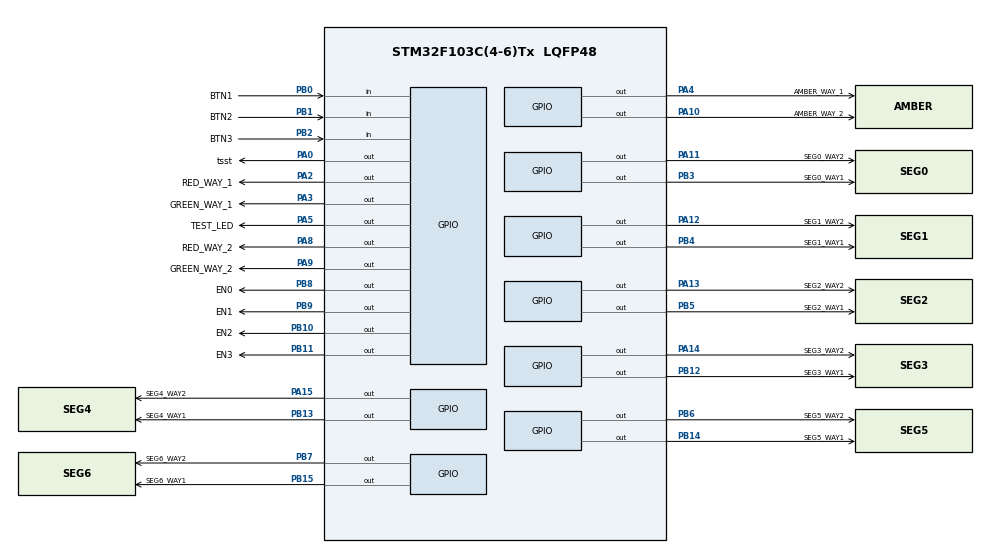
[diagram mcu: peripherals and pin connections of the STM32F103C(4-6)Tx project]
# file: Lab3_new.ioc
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Mcu.Family=STM32F1
Mcu.Name=STM32F103C(4-6)Tx
Mcu.Package=LQFP48
NVIC.PriorityGroup=NVIC_PRIORITYGROUP_4
NVIC.TIM2_IRQn=true\:0\:0\:false\:false\:true\:true\:true
PA0-WKUP.GPIO_Label=tsst
PA0-WKUP.Signal=GPIO_Output
PA10.GPIO_Label=AMBER_WAY_2
PA10.Signal=GPIO_Output
PA11.GPIO_Label=SEG0_WAY2
PA11.Signal=GPIO_Output
PA12.GPIO_Label=SEG1_WAY2
PA12.Signal=GPIO_Output
PA13.GPIO_Label=SEG2_WAY2
PA13.Signal=GPIO_Output
PA14.GPIO_Label=SEG3_WAY2
PA14.Signal=GPIO_Output
PA15.GPIO_Label=SEG4_WAY2
PA15.Signal=GPIO_Output
PA2.GPIO_Label=RED_WAY_1
PA2.Signal=GPIO_Output
PA3.GPIO_Label=GREEN_WAY_1
PA3.Signal=GPIO_Output
PA4.GPIO_Label=AMBER_WAY_1
PA4.Signal=GPIO_Output
PA5.GPIO_Label=TEST_LED
PA5.Signal=GPIO_Output
PA8.GPIO_Label=RED_WAY_2
PA8.Signal=GPIO_Output
PA9.GPIO_Label=GREEN_WAY_2
PA9.Signal=GPIO_Output
PB0.GPIO_Label=BTN1
PB0.GPIO_PuPd=GPIO_PULLUP
PB0.Signal=GPIO_Input
PB1.GPIO_Label=BTN2
PB1.GPIO_PuPd=GPIO_PULLUP
PB1.Signal=GPIO_Input
PB10.GPIO_Label=EN2
PB10.Signal=GPIO_Output
PB11.GPIO_Label=EN3
PB11.Signal=GPIO_Output
PB12.GPIO_Label=SEG3_WAY1
PB12.Signal=GPIO_Output
PB13.GPIO_Label=SEG4_WAY1
PB13.Signal=GPIO_Output
PB14.GPIO_Label=SEG5_WAY1
PB14.Signal=GPIO_Output
PB15.GPIO_Label=SEG6_WAY1
PB15.Signal=GPIO_Output
PB2.GPIO_Label=BTN3
PB2.GPIO_PuPd=GPIO_PULLUP
PB2.Signal=GPIO_Input
PB3.GPIO_Label=SEG0_WAY1
PB3.Signal=GPIO_Output
PB4.GPIO_Label=SEG1_WAY1
PB4.Signal=GPIO_Output
PB5.GPIO_Label=SEG2_WAY1
PB5.Signal=GPIO_Output
PB6.GPIO_Label=SEG5_WAY2
PB6.Signal=GPIO_Output
PB7.GPIO_Label=SEG6_WAY2
PB7.Signal=GPIO_Output
PB8.GPIO_Label=EN0
PB8.Signal=GPIO_Output
PB9.GPIO_Label=EN1
PB9.Signal=GPIO_Output
ProjectManager.HeapSize=0x200
ProjectManager.StackSize=0x400
ProjectManager.TargetToolchain=STM32CubeIDE
RCC.APB1Freq_Value=8000000
RCC.APB2Freq_Value=8000000
TIM2.Period=10 - 1
TIM2.Prescaler=8000 - 1
VP_SYS_VS_ND.Mode=No_Debug
VP_TIM2_VS_ClockSourceINT.Mode=Internal
board=custom

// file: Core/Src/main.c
/* USER CODE BEGIN Header */
/**
  ******************************************************************************
  * @file           : main.c
  * @brief          : Main program body
  ******************************************************************************
  * @attention
  *
  * <h2><center>&copy; Copyright (c) 2025 STMicroelectronics.
  * All rights reserved.</center></h2>
  *
  * This software component is licensed by ST under BSD 3-Clause license,
  * the "License"; You may not use this file except in compliance with the
  * License. You may obtain a copy of the License at:
  *                        opensource.org/licenses/BSD-3-Clause
  *
  ******************************************************************************
  */
/* USER CODE END Header */
#include "main.h"

/* USER CODE BEGIN Includes */
#include "global.h"
#include "led_7seg.h"
#include "software_timer.h"
#include "fsm_auto.h"
#include "fsm_manual.h"
#include "fsm_config.h"
#include "traffic_light.h"
#include "button.h"
/* USER CODE END Includes */

TIM_HandleTypeDef htim2;

void SystemClock_Config(void);
static void MX_TIM2_Init(void);
static void MX_GPIO_Init(void);
/* USER CODE BEGIN PFP */
void init_system();
/* USER CODE END PFP */

int main(void)
{

  /* MCU Configuration--------------------------------------------------------*/

  /* Reset of all peripherals, Initializes the Flash interface and the Systick. */
  HAL_Init();

  /* Configure the system clock */
  SystemClock_Config();

  /* Initialize all configured peripherals */
  MX_TIM2_Init();
  MX_GPIO_Init();
  /* USER CODE BEGIN 2 */
  init_system();
  /* USER CODE END 2 */

  /* Infinite loop */
  /* USER CODE BEGIN WHILE */
  while (1)
  {
	  fsm_auto_run();
	  fsm_manual_run();
	  fsm_config_run();
	  if (timer_is_expired(TIMER_LED_7_SEG_SCAN)) {
		  led_7_seg_scan();
		  timer_set(TIMER_LED_7_SEG_SCAN, TIME_LED_7_SEG_SCAN);
	  }
//	  if (is_long_pressed(&button_1)) {
//		  HAL_GPIO_TogglePin(TEST_LED_GPIO_Port, TEST_LED_Pin); //for debug
//	  }
    /* USER CODE END WHILE */

  }
}

void SystemClock_Config(void)
{
  RCC_OscInitTypeDef RCC_OscInitStruct = {0};
  RCC_ClkInitTypeDef RCC_ClkInitStruct = {0};

  /** Initializes the RCC Oscillators according to the specified parameters
  * in the RCC_OscInitTypeDef structure.
  */
  RCC_OscInitStruct.OscillatorType = RCC_OSCILLATORTYPE_HSI;
  RCC_OscInitStruct.HSIState = RCC_HSI_ON;
  RCC_OscInitStruct.HSICalibrationValue = RCC_HSICALIBRATION_DEFAULT;
  RCC_OscInitStruct.PLL.PLLState = RCC_PLL_NONE;
  if (HAL_RCC_OscConfig(&RCC_OscInitStruct) != HAL_OK)
  {
    Error_Handler();
  }
  /** Initializes the CPU, AHB and APB buses clocks
  */
  RCC_ClkInitStruct.ClockType = RCC_CLOCKTYPE_HCLK|RCC_CLOCKTYPE_SYSCLK
                              |RCC_CLOCKTYPE_PCLK1|RCC_CLOCKTYPE_PCLK2;
  RCC_ClkInitStruct.SYSCLKSource = RCC_SYSCLKSOURCE_HSI;
  RCC_ClkInitStruct.AHBCLKDivider = RCC_SYSCLK_DIV1;
  RCC_ClkInitStruct.APB1CLKDivider = RCC_HCLK_DIV1;
  RCC_ClkInitStruct.APB2CLKDivider = RCC_HCLK_DIV1;

  if (HAL_RCC_ClockConfig(&RCC_ClkInitStruct, FLASH_LATENCY_0) != HAL_OK)
  {
    Error_Handler();
  }
}

static void MX_TIM2_Init(void)
{

  TIM_ClockConfigTypeDef sClockSourceConfig = {0};
  TIM_MasterConfigTypeDef sMasterConfig = {0};

  htim2.Instance = TIM2;
  htim2.Init.Prescaler = 8000 - 1;
  htim2.Init.CounterMode = TIM_COUNTERMODE_UP;
  htim2.Init.Period = 10 - 1;
  htim2.Init.ClockDivision = TIM_CLOCKDIVISION_DIV1;
  htim2.Init.AutoReloadPreload = TIM_AUTORELOAD_PRELOAD_DISABLE;
  if (HAL_TIM_Base_Init(&htim2) != HAL_OK)
  {
    Error_Handler();
  }
  sClockSourceConfig.ClockSource = TIM_CLOCKSOURCE_INTERNAL;
  if (HAL_TIM_ConfigClockSource(&htim2, &sClockSourceConfig) != HAL_OK)
  {
    Error_Handler();
  }
  sMasterConfig.MasterOutputTrigger = TIM_TRGO_RESET;
  sMasterConfig.MasterSlaveMode = TIM_MASTERSLAVEMODE_DISABLE;
  if (HAL_TIMEx_MasterConfigSynchronization(&htim2, &sMasterConfig) != HAL_OK)
  {
    Error_Handler();
  }

}

static void MX_GPIO_Init(void)
{
  GPIO_InitTypeDef GPIO_InitStruct = {0};

  /* GPIO Ports Clock Enable */
  __HAL_RCC_GPIOA_CLK_ENABLE();
  __HAL_RCC_GPIOB_CLK_ENABLE();

  /*Configure GPIO pin Output Level */
  HAL_GPIO_WritePin(GPIOA, tsst_Pin|RED_WAY_1_Pin|GREEN_WAY_1_Pin|AMBER_WAY_1_Pin
                          |TEST_LED_Pin|RED_WAY_2_Pin|GREEN_WAY_2_Pin|AMBER_WAY_2_Pin
                          |SEG0_WAY2_Pin|SEG1_WAY2_Pin|SEG2_WAY2_Pin|SEG3_WAY2_Pin
                          |SEG4_WAY2_Pin, GPIO_PIN_RESET);

  /*Configure GPIO pin Output Level */
  HAL_GPIO_WritePin(GPIOB, EN2_Pin|EN3_Pin|SEG3_WAY1_Pin|SEG4_WAY1_Pin
                          |SEG5_WAY1_Pin|SEG6_WAY1_Pin|SEG0_WAY1_Pin|SEG1_WAY1_Pin
                          |SEG2_WAY1_Pin|SEG5_WAY2_Pin|SEG6_WAY2_Pin|EN0_Pin
                          |EN1_Pin, GPIO_PIN_RESET);

  /*Configure GPIO pins : tsst_Pin RED_WAY_1_Pin GREEN_WAY_1_Pin AMBER_WAY_1_Pin
                           TEST_LED_Pin RED_WAY_2_Pin GREEN_WAY_2_Pin AMBER_WAY_2_Pin
                           SEG0_WAY2_Pin SEG1_WAY2_Pin SEG2_WAY2_Pin SEG3_WAY2_Pin
                           SEG4_WAY2_Pin */
  GPIO_InitStruct.Pin = tsst_Pin|RED_WAY_1_Pin|GREEN_WAY_1_Pin|AMBER_WAY_1_Pin
                          |TEST_LED_Pin|RED_WAY_2_Pin|GREEN_WAY_2_Pin|AMBER_WAY_2_Pin
                          |SEG0_WAY2_Pin|SEG1_WAY2_Pin|SEG2_WAY2_Pin|SEG3_WAY2_Pin
                          |SEG4_WAY2_Pin;
  GPIO_InitStruct.Mode = GPIO_MODE_OUTPUT_PP;
  GPIO_InitStruct.Pull = GPIO_NOPULL;
  GPIO_InitStruct.Speed = GPIO_SPEED_FREQ_LOW;
  HAL_GPIO_Init(GPIOA, &GPIO_InitStruct);

  /*Configure GPIO pins : BTN1_Pin BTN2_Pin BTN3_Pin */
  GPIO_InitStruct.Pin = BTN1_Pin|BTN2_Pin|BTN3_Pin;
  GPIO_InitStruct.Mode = GPIO_MODE_INPUT;
  GPIO_InitStruct.Pull = GPIO_PULLUP;
  HAL_GPIO_Init(GPIOB, &GPIO_InitStruct);

  /*Configure GPIO pins : EN2_Pin EN3_Pin SEG3_WAY1_Pin SEG4_WAY1_Pin
                           SEG5_WAY1_Pin SEG6_WAY1_Pin SEG0_WAY1_Pin SEG1_WAY1_Pin
                           SEG2_WAY1_Pin SEG5_WAY2_Pin SEG6_WAY2_Pin EN0_Pin
                           EN1_Pin */
  GPIO_InitStruct.Pin = EN2_Pin|EN3_Pin|SEG3_WAY1_Pin|SEG4_WAY1_Pin
                          |SEG5_WAY1_Pin|SEG6_WAY1_Pin|SEG0_WAY1_Pin|SEG1_WAY1_Pin
                          |SEG2_WAY1_Pin|SEG5_WAY2_Pin|SEG6_WAY2_Pin|EN0_Pin
                          |EN1_Pin;
  GPIO_InitStruct.Mode = GPIO_MODE_OUTPUT_PP;
  GPIO_InitStruct.Pull = GPIO_NOPULL;
  GPIO_InitStruct.Speed = GPIO_SPEED_FREQ_LOW;
  HAL_GPIO_Init(GPIOB, &GPIO_InitStruct);

}

/* USER CODE BEGIN 4 */
void init_system() {
	timer_set(TIMER_LED_7_SEG_SCAN, TIME_LED_7_SEG_SCAN);
	led_7_seg_set(red_time_s, green_time_s);
	HAL_TIM_Base_Start_IT(&htim2);
}

void HAL_TIM_PeriodElapsedCallback(TIM_HandleTypeDef *htim) {
	if (htim->Instance == TIM2) {              // <- thêm dòng này
		get_key_input(&button_1);
		get_key_input(&button_2);
		get_key_input(&button_3);
		timer_run();
	}
}

/* USER CODE END 4 */

void Error_Handler(void)
{
  __disable_irq();
  while (1)
  {
  }
}

/************************ (C) COPYRIGHT STMicroelectronics *****END OF FILE****/
